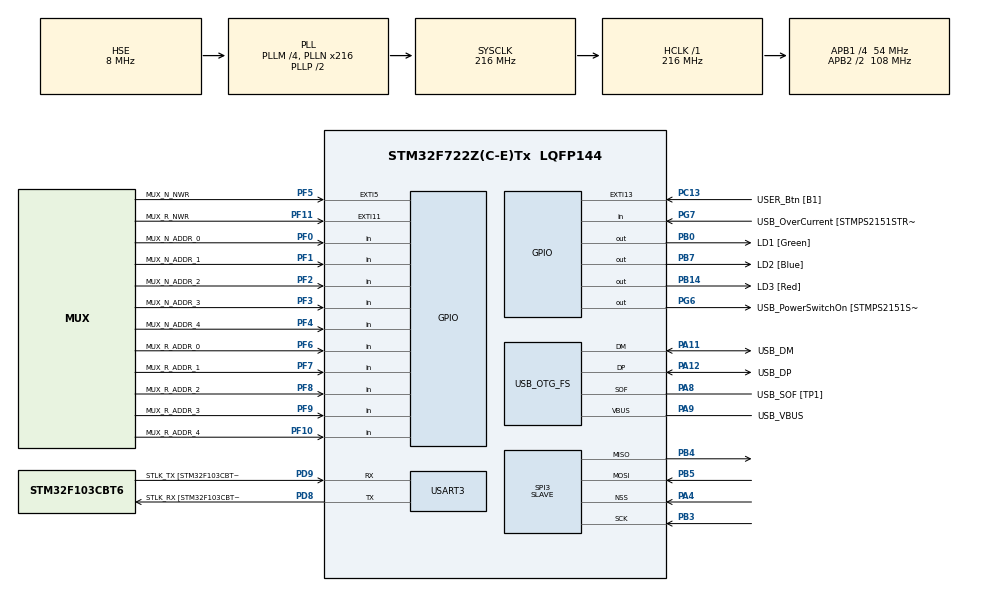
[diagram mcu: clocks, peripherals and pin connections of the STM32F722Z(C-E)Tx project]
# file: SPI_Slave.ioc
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Dma.Request0=USART3_RX
Dma.Request1=USART3_TX
Dma.USART3_RX.0.Direction=DMA_PERIPH_TO_MEMORY
Dma.USART3_RX.0.FIFOMode=DMA_FIFOMODE_DISABLE
Dma.USART3_RX.0.Instance=DMA1_Stream1
Dma.USART3_RX.0.MemDataAlignment=DMA_MDATAALIGN_BYTE
Dma.USART3_RX.0.MemInc=DMA_MINC_ENABLE
Dma.USART3_RX.0.Mode=DMA_NORMAL
Dma.USART3_RX.0.PeriphDataAlignment=DMA_PDATAALIGN_BYTE
Dma.USART3_RX.0.PeriphInc=DMA_PINC_DISABLE
Dma.USART3_RX.0.Priority=DMA_PRIORITY_LOW
Dma.USART3_TX.1.Direction=DMA_MEMORY_TO_PERIPH
Dma.USART3_TX.1.FIFOMode=DMA_FIFOMODE_DISABLE
Dma.USART3_TX.1.Instance=DMA1_Stream3
Dma.USART3_TX.1.MemDataAlignment=DMA_MDATAALIGN_BYTE
Dma.USART3_TX.1.MemInc=DMA_MINC_ENABLE
Dma.USART3_TX.1.Mode=DMA_NORMAL
Dma.USART3_TX.1.PeriphDataAlignment=DMA_PDATAALIGN_BYTE
Dma.USART3_TX.1.PeriphInc=DMA_PINC_DISABLE
Dma.USART3_TX.1.Priority=DMA_PRIORITY_LOW
Mcu.Family=STM32F7
Mcu.Name=STM32F722Z(C-E)Tx
Mcu.Package=LQFP144
NVIC.DMA1_Stream1_IRQn=true\:0\:0\:false\:false\:true\:false\:true\:true
NVIC.DMA1_Stream3_IRQn=true\:0\:0\:false\:false\:true\:false\:true\:true
NVIC.EXTI15_10_IRQn=true\:0\:0\:false\:false\:true\:true\:true\:true
NVIC.EXTI9_5_IRQn=true\:0\:0\:false\:false\:true\:true\:true\:true
NVIC.PriorityGroup=NVIC_PRIORITYGROUP_4
NVIC.SPI3_IRQn=true\:0\:0\:false\:false\:true\:true\:true\:true
NVIC.USART3_IRQn=true\:0\:0\:false\:false\:true\:true\:true\:true
PA10.GPIO_Label=USB_ID
PA10.Signal=USB_OTG_FS_ID
PA11.GPIO_Label=USB_DM
PA11.Mode=Device_Only
PA11.Signal=USB_OTG_FS_DM
PA12.GPIO_Label=USB_DP
PA12.Mode=Device_Only
PA12.Signal=USB_OTG_FS_DP
PA13.GPIO_Label=TMS
PA13.Mode=Serial_Wire
PA13.Signal=SYS_JTMS-SWDIO
PA14.GPIO_Label=TCK
PA14.Mode=Serial_Wire
PA14.Signal=SYS_JTCK-SWCLK
PA4.Mode=NSS_Signal_Hard_Input
PA4.Signal=SPI3_NSS
PA8.GPIO_Label=USB_SOF [TP1]
PA8.Mode=Activate_SOF_FS
PA8.Signal=USB_OTG_FS_SOF
PA9.GPIO_Label=USB_VBUS
PA9.Mode=Activate_VBUS
PA9.Signal=USB_OTG_FS_VBUS
PB0.GPIO_Label=LD1 [Green]
PB0.Signal=GPIO_Output
PB14.GPIO_Label=LD3 [Red]
PB14.Signal=GPIO_Output
PB3.Mode=Full_Duplex_Slave
PB3.Signal=SPI3_SCK
PB4.Mode=Full_Duplex_Slave
PB4.Signal=SPI3_MISO
PB5.Mode=Full_Duplex_Slave
PB5.Signal=SPI3_MOSI
PB7.GPIO_Label=LD2 [Blue]
PB7.Signal=GPIO_Output
PC13.GPIO_Label=USER_Btn [B1]
PC13.Signal=GPXTI13
PC14-OSC32_IN.Mode=LSE-External-Oscillator
PC14-OSC32_IN.Signal=RCC_OSC32_IN
PC15-OSC32_OUT.Mode=LSE-External-Oscillator
PC15-OSC32_OUT.Signal=RCC_OSC32_OUT
PD8.GPIO_Label=STLK_RX [STM32F103CBT6_PA3]
PD8.Mode=Asynchronous
PD8.Signal=USART3_TX
PD9.GPIO_Label=STLK_TX [STM32F103CBT6_PA2]
PD9.Mode=Asynchronous
PD9.Signal=USART3_RX
PF0.GPIO_Label=MUX_N_ADDR_0
PF0.Signal=GPIO_Input
PF1.GPIO_Label=MUX_N_ADDR_1
PF1.Signal=GPIO_Input
PF10.GPIO_Label=MUX_R_ADDR_4
PF10.Signal=GPIO_Input
PF11.GPIO_Label=MUX_R_NWR
PF11.Signal=GPXTI11
PF2.GPIO_Label=MUX_N_ADDR_2
PF2.Signal=GPIO_Input
PF3.GPIO_Label=MUX_N_ADDR_3
PF3.Signal=GPIO_Input
PF4.GPIO_Label=MUX_N_ADDR_4
PF4.Signal=GPIO_Input
PF5.GPIO_Label=MUX_N_NWR
PF5.Signal=GPXTI5
PF6.GPIO_Label=MUX_R_ADDR_0
PF6.Signal=GPIO_Input
PF7.GPIO_Label=MUX_R_ADDR_1
PF7.Signal=GPIO_Input
PF8.GPIO_Label=MUX_R_ADDR_2
PF8.Signal=GPIO_Input
PF9.GPIO_Label=MUX_R_ADDR_3
PF9.Signal=GPIO_Input
PG6.GPIO_Label=USB_PowerSwitchOn [STMPS2151STR_EN]
PG6.Signal=GPIO_Output
PG7.GPIO_Label=USB_OverCurrent [STMPS2151STR_FAULT]
PG7.Signal=GPIO_Input
PH0-OSC_IN.GPIO_Label=MCO
PH0-OSC_IN.Mode=HSE-External-Clock-Source
PH0-OSC_IN.Signal=RCC_OSC_IN
PH1-OSC_OUT.Mode=HSE-External-Clock-Source
PH1-OSC_OUT.Signal=RCC_OSC_OUT
ProjectManager.HeapSize=0x200
ProjectManager.StackSize=0x400
ProjectManager.TargetToolchain=STM32CubeIDE
RCC.48MHZClocksFreq_Value=24000000
RCC.AHBFreq_Value=216000000
RCC.APB1CLKDivider=RCC_HCLK_DIV4
RCC.APB1Freq_Value=54000000
RCC.APB1TimFreq_Value=108000000
RCC.APB2CLKDivider=RCC_HCLK_DIV2
RCC.APB2Freq_Value=108000000
RCC.APB2TimFreq_Value=216000000
RCC.CortexFreq_Value=216000000
RCC.HCLKFreq_Value=216000000
RCC.HSE_VALUE=8000000
RCC.HSI_VALUE=16000000
RCC.PLLM=4
RCC.PLLMUL=RCC_PLL_MUL9
RCC.PLLN=216
RCC.PLLQ=9
RCC.PRESCALERUSB=RCC_USBCLKSOURCE_PLL_DIV1_5
RCC.SYSCLKFreq_VALUE=216000000
RCC.SYSCLKSource=RCC_SYSCLKSOURCE_PLLCLK
RCC.SYSCLKSourceVirtual=RCC_SYSCLKSOURCE_PLLCLK
RCC.USBFreq_Value=48000000
RCC.VCOOutputFreq_Value=432000000
SPI3.CLKPhase=SPI_PHASE_2EDGE
SPI3.CLKPolarity=SPI_POLARITY_HIGH
SPI3.DataSize=SPI_DATASIZE_8BIT
SPI3.Direction=SPI_DIRECTION_2LINES
SPI3.Mode=SPI_MODE_SLAVE
SPI3.VirtualNSS=VM_NSSHARD
SPI3.VirtualType=VM_SLAVE
USART3.VirtualMode-Asynchronous=VM_ASYNC
USB_OTG_FS.VirtualMode=Device_Only
board=NUCLEO-F722ZE

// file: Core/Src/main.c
/* USER CODE BEGIN Header */
/**
  ******************************************************************************
  * @file           : main.c
  * @brief          : Main program body
  ******************************************************************************
  * @attention
  *
  * Copyright (c) 2025 STMicroelectronics.
  * All rights reserved.
  *
  * This software is licensed under terms that can be found in the LICENSE file
  * in the root directory of this software component.
  * If no LICENSE file comes with this software, it is provided AS-IS.
  *
  ******************************************************************************
  */
/* USER CODE END Header */
#include "main.h"
#include "dma.h"
#include "spi.h"
#include "usart.h"
#include "usb_otg.h"
#include "gpio.h"
#include "rsd_cif.h"

/* USER CODE BEGIN PD */
#define ANALOG_TABLE_SIZE PAR_DEF_NUMBER
#define UART3_BUFFER_SIZE 256
#define SPI3_BUFFER_SIZE 2

/* USER CODE END PD */

/* USER CODE BEGIN PM */
#define PUTCHAR_PROTOTYPE int __io_putchar(int ch)

/* USER CODE END PM */

/* USER CODE BEGIN PV */

volatile uint8_t spi3_tx_buffer[SPI3_BUFFER_SIZE] = {0};
volatile uint8_t spi3_rx_buffer[SPI3_BUFFER_SIZE] = {0};
volatile uint8_t index = 0U;

uint8_t uart3_tx_buffer[UART3_BUFFER_SIZE];
uint8_t uart3_rx_buffer[UART3_BUFFER_SIZE];

typedef enum
{
	OK = 0,
	ERROR_T
} RESULTS;

typedef enum
{
	LOW = 0,
	HIGH
} NWR_STATUS;

uint32_t MUX_NWR_N = HIGH;
uint32_t MUX_NWR_R = HIGH;

/* USER CODE END PV */

void SystemClock_Config(void);
/* USER CODE BEGIN PFP */
void SPI3_Start_Comm(void);
void UART3_Start_Comm(void);

/* USER CODE END PFP */

int main(void)
{

  /* MCU Configuration--------------------------------------------------------*/

  /* Reset of all peripherals, Initializes the Flash interface and the Systick. */
  HAL_Init();

  /* Configure the system clock */
  SystemClock_Config();

  /* Initialize all configured peripherals */
  MX_GPIO_Init();
  MX_DMA_Init();
  MX_USART3_UART_Init();
  MX_USB_OTG_FS_PCD_Init();
  MX_SPI3_Init();
  /* USER CODE BEGIN 2 */

  initAnalogTable();

  SPI3_Start_Comm();
  UART3_Start_Comm();

  /* USER CODE END 2 */

  /* Infinite loop */
  while (1)
  {

  }
}

void SystemClock_Config(void)
{
  RCC_OscInitTypeDef RCC_OscInitStruct = {0};
  RCC_ClkInitTypeDef RCC_ClkInitStruct = {0};

  /** Configure LSE Drive Capability
  */
  HAL_PWR_EnableBkUpAccess();

  /** Configure the main internal regulator output voltage
  */
  __HAL_RCC_PWR_CLK_ENABLE();
  __HAL_PWR_VOLTAGESCALING_CONFIG(PWR_REGULATOR_VOLTAGE_SCALE1);

  /** Initializes the RCC Oscillators according to the specified parameters
  * in the RCC_OscInitTypeDef structure.
  */
  RCC_OscInitStruct.OscillatorType = RCC_OSCILLATORTYPE_HSE;
  RCC_OscInitStruct.HSEState = RCC_HSE_BYPASS;
  RCC_OscInitStruct.PLL.PLLState = RCC_PLL_ON;
  RCC_OscInitStruct.PLL.PLLSource = RCC_PLLSOURCE_HSE;
  RCC_OscInitStruct.PLL.PLLM = 4;
  RCC_OscInitStruct.PLL.PLLN = 216;
  RCC_OscInitStruct.PLL.PLLP = RCC_PLLP_DIV2;
  RCC_OscInitStruct.PLL.PLLQ = 9;
  if (HAL_RCC_OscConfig(&RCC_OscInitStruct) != HAL_OK)
  {
    Error_Handler();
  }

  /** Activate the Over-Drive mode
  */
  if (HAL_PWREx_EnableOverDrive() != HAL_OK)
  {
    Error_Handler();
  }

  /** Initializes the CPU, AHB and APB buses clocks
  */
  RCC_ClkInitStruct.ClockType = RCC_CLOCKTYPE_HCLK|RCC_CLOCKTYPE_SYSCLK
                              |RCC_CLOCKTYPE_PCLK1|RCC_CLOCKTYPE_PCLK2;
  RCC_ClkInitStruct.SYSCLKSource = RCC_SYSCLKSOURCE_PLLCLK;
  RCC_ClkInitStruct.AHBCLKDivider = RCC_SYSCLK_DIV1;
  RCC_ClkInitStruct.APB1CLKDivider = RCC_HCLK_DIV4;
  RCC_ClkInitStruct.APB2CLKDivider = RCC_HCLK_DIV2;

  if (HAL_RCC_ClockConfig(&RCC_ClkInitStruct, FLASH_LATENCY_7) != HAL_OK)
  {
    Error_Handler();
  }
}

/* USER CODE BEGIN 4 */

/**
 * @brief This function redirects printf stdout to uart3
 * @retval None
 */
PUTCHAR_PROTOTYPE
{
	HAL_UART_Transmit(&huart3, (uint8_t*)&ch, 1, 0xFFFF);
	return ch;
}

/**
 * @brief This function starts SPI Communication for Slave device
 * @retval None
 */
void SPI3_Start_Comm(void)
{
	HAL_SPI_TransmitReceive_IT(&hspi3,(uint8_t*)spi3_tx_buffer,
			(uint8_t*)spi3_rx_buffer,SPI3_BUFFER_SIZE);
}

/**
 * @brief This function starts SPI Communication for Slave device
 * @retval None
 */
void UART3_Start_Comm(void)
{
	HAL_UART_Receive_DMA(&huart3,uart3_rx_buffer,UART3_BUFFER_SIZE);
	HAL_UART_Transmit_DMA(&huart3,uart3_tx_buffer,UART3_BUFFER_SIZE);
}

/**
  * @brief  Function to handle SPI TxRx
  * @retval None
*/
void HAL_SPI_TxRxCpltCallback(SPI_HandleTypeDef *hspi)
{

	if(hspi->Instance == SPI3)
	{
		index = spi3_rx_buffer[0];
		spi3_tx_buffer[0] |= index << 2U; // setting MS three bits

		spi3_tx_buffer[1] = binarySearch(PAR_DEF_NUMBER,spi3_tx_buffer[0]);

		spi3_tx_buffer[0] = 0U;

		HAL_SPI_TransmitReceive_IT(&hspi3,(uint8_t*)spi3_tx_buffer,
					(uint8_t*)spi3_rx_buffer,SPI3_BUFFER_SIZE);
	}

}

/**
  * @brief  Function to handle UART Rx
  * @retval None
*/
void HAL_UART_RxCpltCallback(UART_HandleTypeDef *huart)
{
	HAL_UART_Receive_DMA(&huart3, uart3_rx_buffer, UART3_BUFFER_SIZE);
}

/**
  * @brief  Function to handle UART Tx
  * @retval None
*/
void HAL_UART_TxCpltCallback(UART_HandleTypeDef *huart)
{
	HAL_UART_Transmit_DMA(&huart3, uart3_tx_buffer, UART3_BUFFER_SIZE);
}

/**
  * @brief  Function to manage GPIO External Interrupts
  * @retval None
 */
void HAL_GPIO_EXTI_Callback(uint16_t GPIO_Pin)
{
        if(GPIO_Pin == MUX_N_NWR_Pin)
        {

                if(HAL_GPIO_ReadPin(GPIOF, GPIO_Pin) == GPIO_PIN_RESET)
                {
                	MUX_NWR_N = LOW;
                }

                if( (HAL_GPIO_ReadPin(GPIOF, GPIO_Pin) == GPIO_PIN_SET) )
                {
                	MUX_NWR_N = HIGH;

                    uint8_t channel_n = 0U;

                    channel_n |= HAL_GPIO_ReadPin(GPIOF, MUX_N_ADDR_0_Pin) << 0U;
                    channel_n |= HAL_GPIO_ReadPin(GPIOF, MUX_N_ADDR_1_Pin) << 1U;
                    channel_n |= HAL_GPIO_ReadPin(GPIOF, MUX_N_ADDR_2_Pin) << 2U;
                    channel_n |= HAL_GPIO_ReadPin(GPIOF, MUX_N_ADDR_3_Pin) << 3U;
                    channel_n |= HAL_GPIO_ReadPin(GPIOF, MUX_N_ADDR_4_Pin) << 4U;

                    spi3_tx_buffer[0] = channel_n;
                }
        }

        if(GPIO_Pin == MUX_R_NWR_Pin)
        {
                if(HAL_GPIO_ReadPin(GPIOF, GPIO_Pin) == GPIO_PIN_RESET)
                {
                	MUX_NWR_R = LOW;
                }

                if( (HAL_GPIO_ReadPin(GPIOF, GPIO_Pin) == GPIO_PIN_SET) )
                {
                	MUX_NWR_R = HIGH;

                	uint8_t channel_r = 0U;

                    channel_r |= HAL_GPIO_ReadPin(GPIOF, MUX_R_ADDR_0_Pin) << 0U;
                    channel_r |= HAL_GPIO_ReadPin(GPIOF, MUX_R_ADDR_1_Pin) << 1U;
                    channel_r |= HAL_GPIO_ReadPin(GPIOF, MUX_R_ADDR_2_Pin) << 2U;
                    channel_r |= HAL_GPIO_ReadPin(GPIOF, MUX_R_ADDR_3_Pin) << 3U;
                    channel_r |= HAL_GPIO_ReadPin(GPIOF, MUX_R_ADDR_4_Pin) << 4U;

                    spi3_tx_buffer[0] = channel_r;
                }

        }
}

/* USER CODE END 4 */

void Error_Handler(void)
{
  __disable_irq();
  while (1)
  {
  }
}
